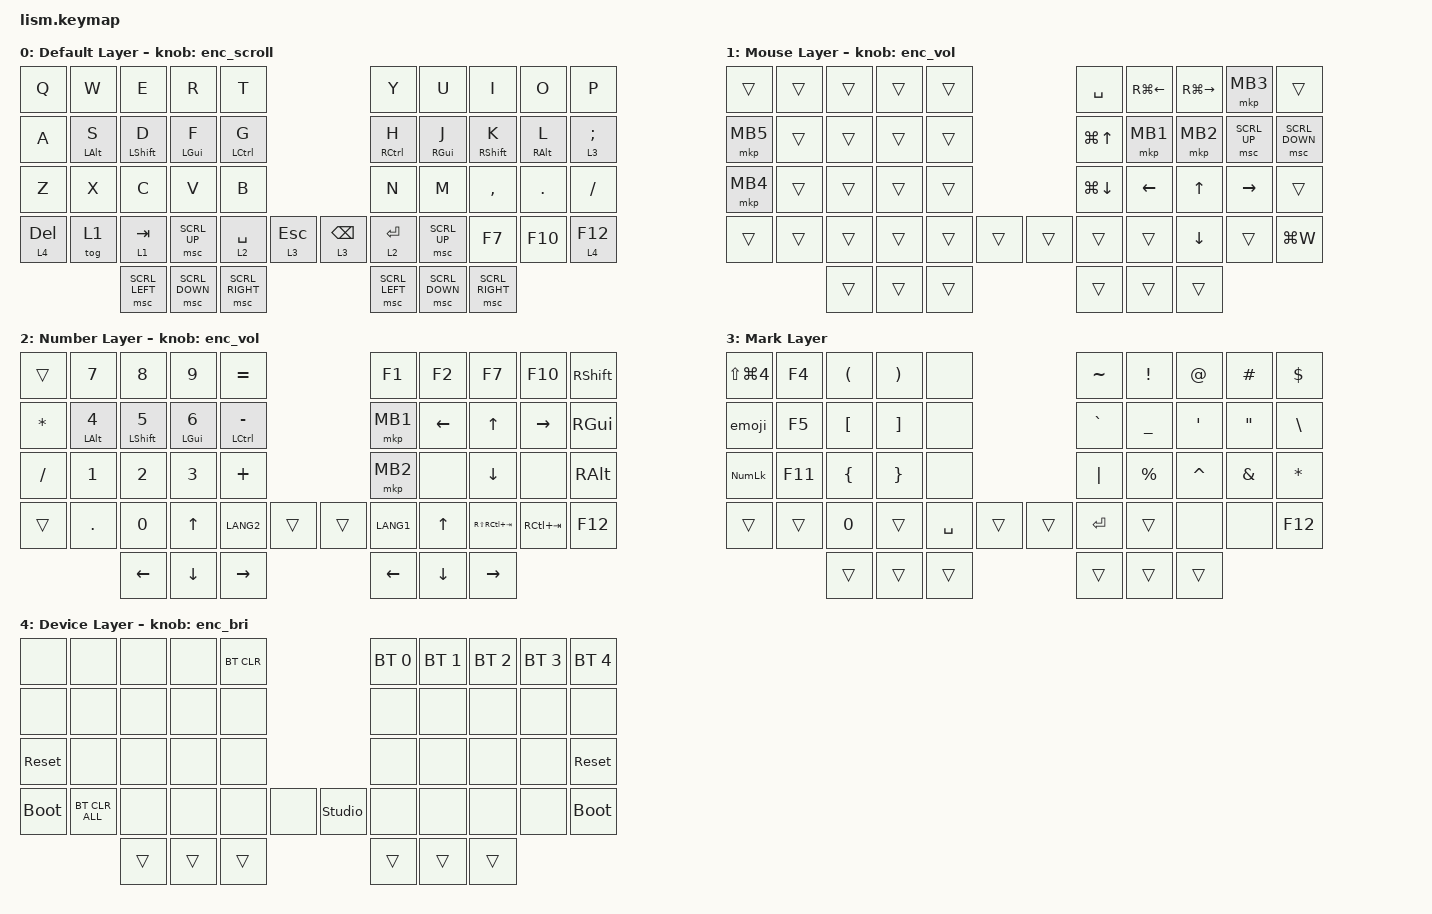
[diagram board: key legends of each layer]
#define ZMK_POINTING_DEFAULT_SCRL_VAL 200

#include <behaviors.dtsi>
#include <dt-bindings/zmk/bt.h>
#include <dt-bindings/zmk/keys.h>
#include <dt-bindings/zmk/pointing.h>
#include <dt-bindings/zmk/mouse.h>

/* DYA Studio 用 include (ZaruBallv3 手順に倣う) */
#include <input/processors/runtime-input-processor.dtsi>
#include <behaviors/battery_history_request.dtsi>
#include <behaviors/runtime-sensor-rotate.dtsi>

&mt {
    tapping-term-ms = <300>;
    flavor = "balanced";
};

&lt {
    quick-tap-ms = <300>;
};


/ {
    macros {
        emoji: emoji_macro {
            compatible = "zmk,behavior-macro";
            label = "EMOJI";
            #binding-cells = <0>;
            bindings = 
                <&macro_press &kp CAPSLOCK>,
                <&macro_tap &kp E>,
                <&macro_release &kp CAPSLOCK>;
        };
    };

    behaviors {
        /* DYA Studio から変更可能な runtime-sensor-rotate 方式に変換。
           cw/ccw は現行 sensor-rotate-var のパラメータ順 (第1=CW, 第2=CCW) を
           そのまま cw-binding / ccw-binding に移したもの。
           デフォルト値として働き、Studio で上書きした値が優先される。 */
        enc_scroll: enc_scroll {
            compatible = "zmk,behavior-runtime-sensor-rotate";
            #sensor-binding-cells = <0>;
            cw-binding = <&msc SCRL_UP>;
            ccw-binding = <&msc SCRL_DOWN>;
            tap-ms = <80>;
        };

        enc_vol: enc_vol {
            compatible = "zmk,behavior-runtime-sensor-rotate";
            #sensor-binding-cells = <0>;
            cw-binding = <&kp C_VOL_UP>;
            ccw-binding = <&kp C_VOL_DN>;
            tap-ms = <5>;
        };

        enc_bri: enc_bri {
            compatible = "zmk,behavior-runtime-sensor-rotate";
            #sensor-binding-cells = <0>;
            cw-binding = <&kp C_BRI_UP>;
            ccw-binding = <&kp C_BRI_DN>;
            tap-ms = <5>;
        };
    };

    keymap {
        compatible = "zmk,keymap";

        default_layer {
            display-name = "Default Layer";
            bindings = <
                &kp Q            &kp W              &kp E                 &kp R                   &kp T                                                  &kp Y          &kp U            &kp I              &kp O               &kp P
                &kp A            &mt LALT S         &mt LSHIFT D          &mt LGUI F              &mt LCTRL G                                            &mt RCTRL H    &mt RGUI J       &mt RSHIFT K       &mt RALT L          &lt 3 SEMICOLON
                &kp Z            &kp X              &kp C                 &kp V                   &kp B                                                  &kp N          &kp M            &kp COMMA          &kp DOT             &kp SLASH
                &lt 4 DELETE     &tog 1             &lt 1 TAB             &msc SCRL_UP            &lt 2 SPACE       &lt 3 ESC           &lt 3 BACKSPACE  &lt 2 ENTER    &msc SCRL_UP     &kp F7             &kp F10             &lt 4 F12 
                                                    &msc SCRL_LEFT        &msc SCRL_DOWN          &msc SCRL_RIGHT                                        &msc SCRL_LEFT &msc SCRL_DOWN   &msc SCRL_RIGHT
            >;
            sensor-bindings = <&enc_scroll>;
        };

        layer_1 {
            display-name = "Mouse Layer";
            bindings = <
                &trans           &trans             &trans                &trans                  &trans                                                 &kp SPACE      &kp RG(LEFT)     &kp RG(RIGHT)      &mkp MB3            &trans
                &mkp MB5         &trans             &trans                &trans                  &trans                                                 &kp LG(UP)     &mkp MB1         &mkp MB2           &msc SCRL_UP        &msc SCRL_DOWN
                &mkp MB4         &trans             &trans                &trans                  &trans                                                 &kp LG(DOWN)   &kp LEFT         &kp UP             &kp RIGHT           &trans
                &trans           &trans             &trans                &trans                  &trans            &trans              &trans           &trans         &trans           &kp DOWN           &trans              &kp LG(W)
                                                    &trans                &trans                  &trans                                                 &trans         &trans           &trans
            >;
            sensor-bindings = <&enc_vol>;
        };

        layer_2 {
            display-name = "Number Layer";
            bindings = <
                &trans           &kp NUMBER_7       &kp NUMBER_8          &kp NUMBER_9            &kp EQUAL                                              &kp F1         &kp F2           &kp F7             &kp F10             &kp RSHIFT
                &kp ASTERISK     &mt LALT NUMBER_4  &mt LSHIFT NUMBER_5   &mt LGUI NUMBER_6       &mt LCTRL MINUS                                        &mkp MB1       &kp LEFT         &kp UP             &kp RIGHT           &kp RGUI
                &kp SLASH        &kp NUMBER_1       &kp NUMBER_2          &kp NUMBER_3            &kp PLUS                                               &mkp MB2       &none            &kp DOWN           &none               &kp RALT
                &trans           &kp DOT            &kp NUMBER_0          &kp UP                  &kp LANG2         &trans              &trans           &kp LANG1      &kp UP           &kp RS(RC(TAB))    &kp RC(TAB)         &kp F12 
                                                    &kp LEFT              &kp DOWN                &kp RIGHT                                              &kp LEFT       &kp DOWN         &kp RIGHT
            >;
            sensor-bindings = <&enc_vol>;
        };

        layer_3 {
            display-name = "Mark Layer";
            bindings = <
                &kp LS(LG(N4))   &kp F4             &kp LEFT_PARENTHESIS  &kp RIGHT_PARENTHESIS   &none                                                  &kp TILDE      &kp EXCLAMATION  &kp AT_SIGN        &kp HASH            &kp DOLLAR
                &emoji           &kp F5             &kp LEFT_BRACKET      &kp RIGHT_BRACKET       &none                                                  &kp GRAVE      &kp UNDER        &kp SINGLE_QUOTE   &kp DOUBLE_QUOTES   &kp BACKSLASH
                &kp KP_NUMLOCK   &kp F11            &kp LEFT_BRACE        &kp RIGHT_BRACE         &none                                                  &kp PIPE       &kp PERCENT      &kp CARET          &kp AMPERSAND       &kp ASTERISK
                &trans           &trans             &kp NUMBER_0          &trans                  &kp SPACE         &trans              &trans           &kp ENTER      &trans           &none              &none               &kp F12 
                                                    &trans                &trans                  &trans                                                 &trans         &trans           &trans
            >;
        };

        layer_4 {
            display-name = "Device Layer";
            bindings = <
                &none            &none              &none                 &none                   &bt BT_CLR                                             &bt BT_SEL 0   &bt BT_SEL 1     &bt BT_SEL 2       &bt BT_SEL 3        &bt BT_SEL 4
                &none            &none              &none                 &none                   &none                                                  &none          &none            &none              &none               &none
                &sys_reset       &none              &none                 &none                   &none                                                  &none          &none            &none              &none               &sys_reset
                &bootloader      &bt BT_CLR_ALL     &none                 &none                   &none             &none               &studio_unlock   &none          &none            &none              &none               &bootloader
                                                    &trans                &trans                  &trans                                                 &trans         &trans           &trans
            >;
            sensor-bindings = <&enc_bri>;
        };

        layer_5 {
            status = "reserved";
            display-name = "Brank Layer";
            bindings = <
                &trans           &trans             &trans                &trans                  &trans                                                 &trans       &trans           &trans             &trans              &trans
                &trans           &trans             &trans                &trans                  &trans                                                 &trans       &trans           &trans             &trans              &trans
                &trans           &trans             &trans                &trans                  &trans                                                 &trans       &trans           &trans             &trans              &trans
                &trans           &trans             &trans                &trans                  &trans            &trans              &trans           &trans       &trans           &trans             &trans              &trans
                                                    &trans                &trans                  &trans                                                 &trans       &trans           &trans
            >;
        };

        layer_6 {
            status = "reserved";
            display-name = "Brank Layer";
            bindings = <
                &trans           &trans             &trans                &trans                  &trans                                                 &trans       &trans           &trans             &trans              &trans
                &trans           &trans             &trans                &trans                  &trans                                                 &trans       &trans           &trans             &trans              &trans
                &trans           &trans             &trans                &trans                  &trans                                                 &trans       &trans           &trans             &trans              &trans
                &trans           &trans             &trans                &trans                  &trans            &trans              &trans           &trans       &trans           &trans             &trans              &trans
                                                    &trans                &trans                  &trans                                                 &trans       &trans           &trans
            >;
        };

        layer_7 {
            status = "reserved";
            display-name = "Brank Layer";
            bindings = <
                &trans           &trans             &trans                &trans                  &trans                                                 &trans       &trans           &trans             &trans              &trans
                &trans           &trans             &trans                &trans                  &trans                                                 &trans       &trans           &trans             &trans              &trans
                &trans           &trans             &trans                &trans                  &trans                                                 &trans       &trans           &trans             &trans              &trans
                &trans           &trans             &trans                &trans                  &trans                                                 &trans       &trans           &trans             &trans              &trans
                &trans           &trans             &trans                &trans                  &trans            &trans              &trans           &trans       &trans           &trans             &trans              &trans
                                                    &trans                &trans                  &trans                                                 &trans       &trans           &trans
            >;
        };
    };

};
